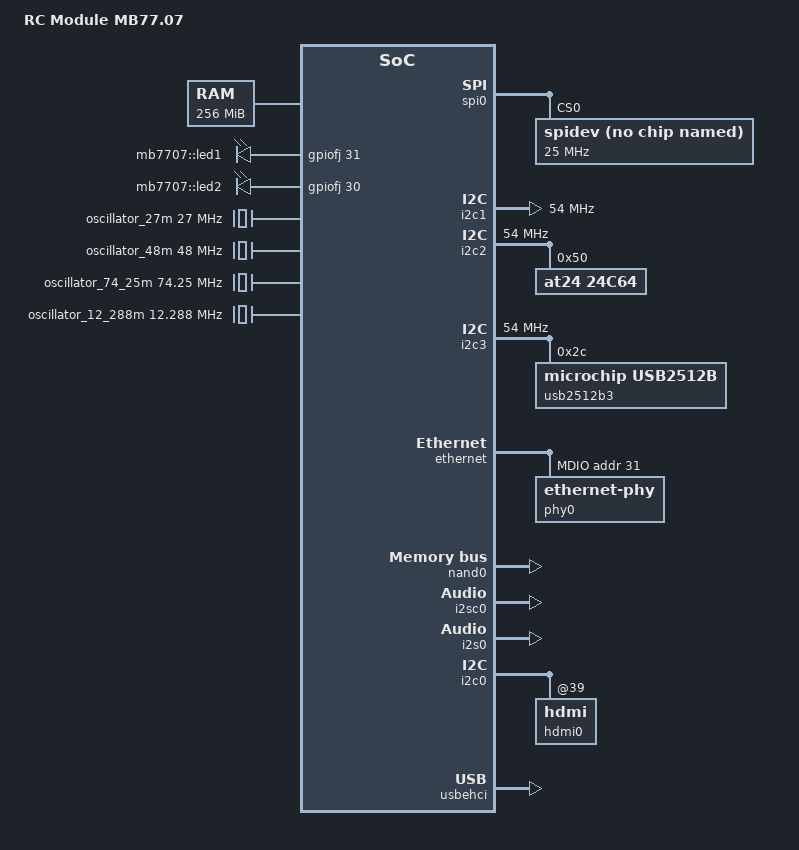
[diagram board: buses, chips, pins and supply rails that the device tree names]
/*
 * Copyright Promwad inc(C) 2011
 * Copyright RC Module      2015
 *
 * Michail Kurachkin <stelhs@ya.ru>
 * Andrew Andrianov  <andrew@ncrmnt.org>
 *
 * This program is free software; you can redistribute it and/or modify
 * it under the terms of the GNU General Public License as published by
 * the Free Software Foundation; either version 2 of the License, or
 * (at your option) any later version.
 *
 * This program is distributed in the hope that it will be useful,
 * but WITHOUT ANY WARRANTY; without even the implied warranty of
 * MERCHANTABILITY or FITNESS FOR A PARTICULAR PURPOSE.  See the
 * GNU General Public License for more details.
 *
 */

/dts-v1/;
#include "rcm-k1879xb1.dtsi"

/ {
	model = "RC Module MB77.07";
	compatible = "rcm,mb7707";

    memory {
        device_type = "memory";
        reg = <0x40000000 0x8000000 0xc0000000 0x8000000>;
    };

	reserved-memory {
	    #address-cells = <1>;
	    #size-cells = <1>;
	    ranges;

	    fb_reserved: framebuffer@45C00000 {
		reg = <0x45C00000 0x2400000>;
	    };

		nmc_mem0: nmc_mem0 {
			size = <0x1000000>;
			alignment = <0x1000000>;
		};
	};

	chosen {
		bootargs = "ignore_loglevel console=ttyS0,38400n8 earlyprintk=serial ubi.mtd=4,2048 root=ubi0:rootfs rootfstype=ubifs mtdparts=nand:0x40000@0x0(boot),0x40000@0x40000(env),0x80000@0x80000(kernel_dtb),0x400000@0x100000(kernel),0x3FB00000@0x500000(rootfs) irqpoll noapic";
	};

	leds {
		compatible = "gpio-leds";
		one {
			label = "mb7707::led1";
			gpios = <&gpiofj 31 0>; /* LED1 */
			linux,default-trigger = "heartbeat";
		};
		two {
			label = "mb7707::led2";
			gpios = <&gpiofj 30 0>; /* LED2 */
			default-state = "off";
		};
	};

	clocks {
		oscillator_27m: oscillator@27M {
			/* On-board crystal, 27MHz clock */
			compatible = "fixed-clock";
			#clock-cells = <0>;
			clock-frequency = <27000000>;
			clock-accuracy = <0>;
			clock-output-names = "clk_27m";
		};

		oscillator_48m: oscillator@48M {
			/* On-board crystal, 48MHz clock */
			compatible = "fixed-clock";
			#clock-cells = <0>;
			clock-frequency = <48000000>;
			clock-output-names = "clk_48m";
		};

		oscillator_74_25m: oscillator@74M {
			/* On-board crystal, 74.25MHz clock */
			compatible = "fixed-clock";
			#clock-cells = <0>;
			clock-frequency = <74250000>;
			clock-output-names = "clk_74m";
		};

		oscillator_12_288m: oscillator@12M {
			/* On-board crystal, 12.288MHz clock */
			compatible = "fixed-clock";
			#clock-cells = <0>;
			clock-frequency = <12288000>;
			clock-output-names = "clk_12m";
		};
	};

	axi {
		apb_c {
			spi0: spi@e000 {
				status = "okay";
				#address-cells = <1>;
				#size-cells = <0>;
				spidev@0 {
					compatible = "rohm,dh2228fv";
					reg = <0>;
					spi-max-frequency = <25000000>;
					spi-cpha;
					pl022,hierarchy = <0>;
					pl022,interface = <0>;
					pl022,slave-tx-disable;
					pl022,com-mode = <0x1>; /* polling mode */
					pl022,rx-level-trig = <0>;
					pl022,tx-level-trig = <0>;
					pl022,ctrl-len = <0x11>;
					pl022,wait-state = <0>;
					pl022,duplex = <0>;
				};
			};

			i2c1: i2c@1000 {
				status = "okay";
				speed = <100000>;
				clock-frequency = <54000000>;
			};

			i2c2: i2c@6000 {
				status = "okay";
				speed = <100000>;
				clock-frequency = <54000000>;
				#address-cells = <1>;
				#size-cells = <0>;
				at24: at24@50 {
							compatible = "at24,24c64";
							reg = <0x50>;
				};
			};

			i2c3: i2c@d000 {
				status = "okay";
				speed = <100000>;
				clock-frequency = <54000000>;
				usb2512b3: usb-hub3@2c { // hub is hier
					compatible = "microchip,usb2512b";
					reg = <0x2c>;
					/* reset-gpios = <&gpio0 29 GPIO_ACTIVE_LOW>; */
				};
			};
		};

		apb_d {
			ethernet: greth@4000 {
				local-mac-address = [ EC 17 66 77 07 00 ];
				status = "okay";
				mdio {
				phy0: ethernet-phy@0 {
						reg = <0x1f>;
					};
				};
			};

			nand0: nand@f000 {
				status = "okay";
				partitions {
					compatible = "fixed-partitions";
					#address-cells = <1>;
					#size-cells = <1>;
					status = "okay";

					partition@0 {
						label = "boot";
						reg = <0x0 0x40000>;
					};
					partition@0x40000 {
						label = "env";
						reg = <0x40000 0x40000>;
					};
					partition@0x80000 {
						label = "kernel_dtb";
						reg = <0x80000 0x80000>;
					};
					partition@0x100000 {
						label = "kernel";
						reg = <0x100000 0x400000>;
					};
					partition@500000 {
						label = "rootfs";
						reg = <0x00500000 0x3FB00000>;
					};
				};
			};
		};

		au@0 {
			i2sc0: i2sc@0 {
				status = "okay";
			};
			i2s0: i2s0@0 {
				status = "okay";
			};
			i2s1: i2s1@0 {
				//status = "okay";
			};
			i2s2: i2s2@0 {
				//status = "okay";
			};
			i2s3: i2s3@0 {
				//status = "okay";
			};
		};

		au@1 {
			spdif: spdif@0 {
				//status = "okay";
			};

			sound0 {
				status = "okay";
				compatible = "simple-audio-card";
				simple-audio-card,name = "RCM Audio 0";
				#address-cells = <1>;
				#size-cells = <0>;
				#sound-dai-cells = <0>;

				simple-audio-card,dai-link@0 {
					reg = <0>;
					format = "i2s";
					cpu {
						sound-dai = <&i2s0>;
					};
					codec {
						sound-dai = <&i2s_codec0>;
					};
				};
			};
			sound1 {
				//status = "okay";
				compatible = "simple-audio-card";
				simple-audio-card,name = "RCM Audio 1";
				#address-cells = <1>;
				#size-cells = <0>;
				#sound-dai-cells = <0>;

				simple-audio-card,dai-link@1 {
					reg = <1>;
					format = "i2s";
					cpu {
						sound-dai = <&i2s1>;
					};
					codec {
						sound-dai = <&i2s_codec1>;
					};
				};
			};
			sound2 {
				//status = "okay";
				compatible = "simple-audio-card";
				simple-audio-card,name = "RCM Audio 2";
				#address-cells = <1>;
				#size-cells = <0>;
				#sound-dai-cells = <0>;

				simple-audio-card,dai-link@2 {
					reg = <2>;
					format = "i2s";
					cpu {
						sound-dai = <&i2s2>;
					};
					codec {
						sound-dai = <&i2s_codec2>;
					};
				};
			};
			sound3 {
				//status = "okay";
				compatible = "simple-audio-card";
				simple-audio-card,name = "RCM Audio 3";
				#address-cells = <1>;
				#size-cells = <0>;
				#sound-dai-cells = <0>;

				simple-audio-card,dai-link@3 {
					reg = <3>;
					format = "i2s";
					cpu {
						sound-dai = <&i2s3>;
					};
					codec {
						sound-dai = <&i2s_codec3>;
					};
				};
			};
			i2s_codec0: i2scodec0 {
				compatible = "linux,spdif-dit";
				#sound-dai-cells = <0>;
				status = "okay";
			};
			i2s_codec1: i2scodec1 {
				compatible = "linux,spdif-dit";
				#sound-dai-cells = <0>;
				//status = "okay";
			};
			i2s_codec2: i2scodec2 {
				compatible = "linux,spdif-dit";
				#sound-dai-cells = <0>;
				//status = "okay";
			};
			i2s_codec3: i2scodec3 {
				compatible = "linux,spdif-dit";
				#sound-dai-cells = <0>;
				//status = "okay";
			};
		};

		apb_mult {
			audio_dma: audio_dma@0x2800 {
				status = "okay";
			};

			i2c0: i2c@1000 {
				status = "okay";
				hdmi0: hdmi@39 {
					status = "okay";
				};
			};

			vdu: vdu@0x3000 {
				memory-region = <&fb_reserved>;
				status = "okay";
			};
		};

		usbehci: ehci@0x10040000 {
			status = "okay";
		};

		video_decoder: video_decoder@80180000 {
			status = "okay";
		};

		//sound: audio@0x80175000 {
		//	status = "okay";
		//	maudio,model = "Module MB7707";
		//};
	};
};
